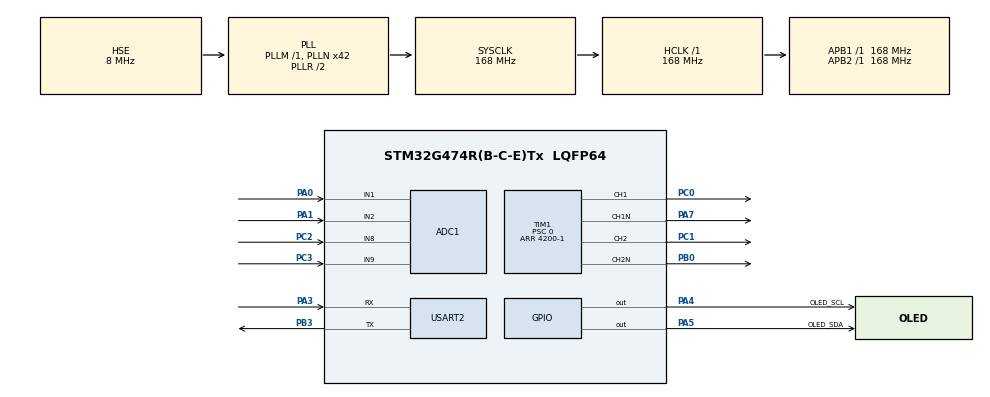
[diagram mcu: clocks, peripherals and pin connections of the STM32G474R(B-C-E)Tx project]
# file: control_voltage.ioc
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ADC1.Channel-6\#ChannelRegularConversion=ADC_CHANNEL_1
ADC1.Channel-7\#ChannelRegularConversion=ADC_CHANNEL_8
ADC1.ContinuousConvMode=ENABLE
ADC1.NbrOfConversion=2
ADC1.NbrOfConversionFlag=1
ADC1.OffsetNumber-6\#ChannelRegularConversion=ADC_OFFSET_NONE
ADC1.OffsetNumber-7\#ChannelRegularConversion=ADC_OFFSET_NONE
ADC1.Rank-6\#ChannelRegularConversion=1
ADC1.Rank-7\#ChannelRegularConversion=2
ADC1.SamplingTime-6\#ChannelRegularConversion=ADC_SAMPLETIME_24CYCLES_5
ADC1.SamplingTime-7\#ChannelRegularConversion=ADC_SAMPLETIME_24CYCLES_5
ADC1.SingleDiff-6\#ChannelRegularConversion=ADC_DIFFERENTIAL_ENDED
ADC1.SingleDiff-7\#ChannelRegularConversion=ADC_DIFFERENTIAL_ENDED
ADC1.master=1
Dma.Request0=USART2_RX
Dma.Request1=USART2_TX
Dma.USART2_RX.0.Direction=DMA_PERIPH_TO_MEMORY
Dma.USART2_RX.0.EventEnable=DISABLE
Dma.USART2_RX.0.Instance=DMA1_Channel1
Dma.USART2_RX.0.MemDataAlignment=DMA_MDATAALIGN_BYTE
Dma.USART2_RX.0.MemInc=DMA_MINC_ENABLE
Dma.USART2_RX.0.Mode=DMA_NORMAL
Dma.USART2_RX.0.PeriphDataAlignment=DMA_PDATAALIGN_BYTE
Dma.USART2_RX.0.PeriphInc=DMA_PINC_DISABLE
Dma.USART2_RX.0.Polarity=HAL_DMAMUX_REQ_GEN_RISING
Dma.USART2_RX.0.Priority=DMA_PRIORITY_LOW
Dma.USART2_RX.0.RequestNumber=1
Dma.USART2_RX.0.SignalID=NONE
Dma.USART2_RX.0.SyncEnable=DISABLE
Dma.USART2_RX.0.SyncPolarity=HAL_DMAMUX_SYNC_NO_EVENT
Dma.USART2_RX.0.SyncRequestNumber=1
Dma.USART2_RX.0.SyncSignalID=NONE
Dma.USART2_TX.1.Direction=DMA_MEMORY_TO_PERIPH
Dma.USART2_TX.1.EventEnable=DISABLE
Dma.USART2_TX.1.Instance=DMA1_Channel2
Dma.USART2_TX.1.MemDataAlignment=DMA_MDATAALIGN_BYTE
Dma.USART2_TX.1.MemInc=DMA_MINC_ENABLE
Dma.USART2_TX.1.Mode=DMA_NORMAL
Dma.USART2_TX.1.PeriphDataAlignment=DMA_PDATAALIGN_BYTE
Dma.USART2_TX.1.PeriphInc=DMA_PINC_DISABLE
Dma.USART2_TX.1.Polarity=HAL_DMAMUX_REQ_GEN_RISING
Dma.USART2_TX.1.Priority=DMA_PRIORITY_LOW
Dma.USART2_TX.1.RequestNumber=1
Dma.USART2_TX.1.SignalID=NONE
Dma.USART2_TX.1.SyncEnable=DISABLE
Dma.USART2_TX.1.SyncPolarity=HAL_DMAMUX_SYNC_NO_EVENT
Dma.USART2_TX.1.SyncRequestNumber=1
Dma.USART2_TX.1.SyncSignalID=NONE
Mcu.Family=STM32G4
Mcu.Name=STM32G474R(B-C-E)Tx
Mcu.Package=LQFP64
NVIC.DMA1_Channel1_IRQn=true\:0\:0\:false\:false\:true\:false\:true\:true
NVIC.DMA1_Channel2_IRQn=true\:0\:0\:false\:false\:true\:false\:true\:true
NVIC.PriorityGroup=NVIC_PRIORITYGROUP_4
NVIC.TIM4_IRQn=true\:0\:0\:false\:false\:true\:true\:true\:true
NVIC.USART2_IRQn=true\:0\:0\:false\:false\:true\:true\:true\:true
PA0.Mode=IN1-Differential
PA0.Signal=ADC1_IN1
PA1.Mode=IN1-Differential
PA1.Signal=ADC1_IN2
PA13.Mode=Serial_Wire
PA13.Signal=SYS_JTMS-SWDIO
PA14.Mode=Serial_Wire
PA14.Signal=SYS_JTCK-SWCLK
PA3.Mode=Asynchronous
PA3.Signal=USART2_RX
PA4.GPIO_Label=OLED_SCL
PA4.GPIO_ModeDefaultOutputPP=GPIO_MODE_OUTPUT_OD
PA4.GPIO_PuPd=GPIO_NOPULL
PA4.GPIO_Speed=GPIO_SPEED_FREQ_HIGH
PA4.Signal=GPIO_Output
PA5.GPIO_Label=OLED_SDA
PA5.GPIO_ModeDefaultOutputPP=GPIO_MODE_OUTPUT_OD
PA5.GPIO_PuPd=GPIO_NOPULL
PA5.GPIO_Speed=GPIO_SPEED_FREQ_HIGH
PA5.Signal=GPIO_Output
PA7.GPIO_Speed=GPIO_SPEED_FREQ_MEDIUM
PA7.Mode=PWM Generation1 CH1 CH1N
PA7.Signal=TIM1_CH1N
PB0.GPIO_Speed=GPIO_SPEED_FREQ_MEDIUM
PB0.Mode=PWM Generation2 CH2 CH2N
PB0.Signal=TIM1_CH2N
PB3.Mode=Asynchronous
PB3.Signal=USART2_TX
PC0.GPIO_Speed=GPIO_SPEED_FREQ_MEDIUM
PC0.Signal=S_TIM1_CH1
PC1.GPIO_Speed=GPIO_SPEED_FREQ_MEDIUM
PC1.Signal=S_TIM1_CH2
PC2.Mode=IN8-Differential
PC2.Signal=ADC1_IN8
PC3.Mode=IN8-Differential
PC3.Signal=ADC1_IN9
PF0-OSC_IN.Mode=HSE-External-Oscillator
PF0-OSC_IN.Signal=RCC_OSC_IN
PF1-OSC_OUT.Mode=HSE-External-Oscillator
PF1-OSC_OUT.Signal=RCC_OSC_OUT
ProjectManager.HeapSize=0x200
ProjectManager.StackSize=0x400
ProjectManager.TargetToolchain=CMake
RCC.ADC12Freq_Value=168000000
RCC.ADC345Freq_Value=168000000
RCC.AHBFreq_Value=168000000
RCC.APB1Freq_Value=168000000
RCC.APB1TimFreq_Value=168000000
RCC.APB2Freq_Value=168000000
RCC.APB2TimFreq_Value=168000000
RCC.CortexFreq_Value=168000000
RCC.EXTERNAL_CLOCK_VALUE=12288000
RCC.HCLKFreq_Value=168000000
RCC.HSE_VALUE=8000000
RCC.HSI48_VALUE=48000000
RCC.HSI_VALUE=16000000
RCC.LSE_VALUE=32768
RCC.PLLN=42
RCC.PLLSourceVirtual=RCC_PLLSOURCE_HSE
RCC.SYSCLKFreq_VALUE=168000000
RCC.SYSCLKSource=RCC_SYSCLKSOURCE_PLLCLK
RCC.USBFreq_Value=168000000
RCC.VCOOutputFreq_Value=336000000
SH.S_TIM1_CH1.0=TIM1_CH1,PWM Generation1 CH1 CH1N
SH.S_TIM1_CH2.0=TIM1_CH2,PWM Generation2 CH2 CH2N
TIM1.AsymmetricalDeadTime=DISABLE
TIM1.AutoReloadPreload=TIM_AUTORELOAD_PRELOAD_ENABLE
TIM1.Channel-PWM\ Generation1\ CH1\ CH1N=TIM_CHANNEL_1
TIM1.Channel-PWM\ Generation2\ CH2\ CH2N=TIM_CHANNEL_2
TIM1.DeadTime=42
TIM1.PeriodNoDither=4200-1
TIM1.Prescaler=0
TIM4.AutoReloadPreload=TIM_AUTORELOAD_PRELOAD_ENABLE
TIM4.PeriodNoDither=8400
USART2.VirtualMode-Asynchronous=VM_ASYNC
VP_SYS_VS_DBSignals.Mode=DisableDeadBatterySignals
VP_TIM1_VS_ClockSourceINT.Mode=Internal
VP_TIM4_VS_ClockSourceINT.Mode=Internal
board=custom

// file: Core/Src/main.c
/* USER CODE BEGIN Header */
/**
  ******************************************************************************
  * @file           : main.c
  * @brief          : Main program body
  ******************************************************************************
  * @attention
  *
  * Copyright (c) 2026 STMicroelectronics.
  * All rights reserved.
  *
  * This software is licensed under terms that can be found in the LICENSE file
  * in the root directory of this software component.
  * If no LICENSE file comes with this software, it is provided AS-IS.
  *
  ******************************************************************************
  */
/* USER CODE END Header */
#include "main.h"
#include "adc.h"
#include "dma.h"
#include "tim.h"
#include "usart.h"
#include "gpio.h"

/* USER CODE BEGIN Includes */
#include "MY_OLED.h"
#include "OLED.h"
#include "arm_math.h"

/* USER CODE END Includes */

/* USER CODE BEGIN PV */
#define upper_limit                           8399.0f
#define lower_limit                           0.0f
#define BUCK_limit                            3780.0f
#define Middle_limit1                         3990.0f
#define Middle_limit2                         4410.0f
#define BOOST_limit                           8399.0f
#define BUCK_fix_pulse                        3864.0f
#define BOOST_fix_pulse                       294.0f
#define BUCK_max_pulse                        4199.0f
#define BOOST_min_pulse                       0.0f
#define software_step_size                    42.0f
#define software_start_digital_setpoint       4200.0f

uint16_t ADC_value[32];//2个通道，16个数据取平均滤波

const uint8_t buff_size=16;

float32_t phy_setpoint=0.0f;
float32_t phy_measurement[2];
float32_t calc_measurement[2];
float32_t calc_setpoint=0;
float32_t pid_memory[3];
float32_t debug_value=0;

const float32_t voltage_gain=1.0;
const float32_t phy_calc_conv=voltage_gain/(float32_t)buff_size;
const float32_t Ts=5e-5f;

arm_pid_instance_f32 pid;

/* USER CODE END PV */

void SystemClock_Config(void);

int main(void)
{

  /* USER CODE BEGIN 1 */
  calc_setpoint=phy_setpoint/phy_calc_conv;
  pid.Kp=0;
  pid.Ki=0;
  pid.Kd=0;
  pid.A0=pid.Kp+pid.Ki*Ts+pid.Kd/Ts;
  pid.A1=-pid.Kp-2.0f*pid.Kd/Ts;
  pid.A2=pid.Kd/Ts;
  /* USER CODE END 1 */

  /* MCU Configuration--------------------------------------------------------*/

  /* Reset of all peripherals, Initializes the Flash interface and the Systick. */
  HAL_Init();

  /* USER CODE BEGIN Init */
  OLED_Init();
  /* USER CODE END Init */

  /* Configure the system clock */
  SystemClock_Config();

  /* Initialize all configured peripherals */
  MX_GPIO_Init();
  MX_DMA_Init();
  MX_USART2_UART_Init();
  MX_ADC1_Init();
  MX_TIM4_Init();
  MX_TIM1_Init();
  /* USER CODE BEGIN 2 */
  arm_pid_init_f32(&pid,1);

  HAL_ADCEx_Calibration_Start(&hadc1,ADC_DIFFERENTIAL_ENDED);
  HAL_ADC_Start_DMA(&hadc1,(uint32_t*)ADC_value,sizeof(ADC_value)/sizeof(uint16_t));

  HAL_TIM_Base_Start(&htim1);
  software_start();
  HAL_TIM_Base_Start_IT(&htim4);

  /* USER CODE END 2 */

  /* Infinite loop */
  while (1)
  {

  }
}

void SystemClock_Config(void)
{
  RCC_OscInitTypeDef RCC_OscInitStruct = {0};
  RCC_ClkInitTypeDef RCC_ClkInitStruct = {0};

  /** Configure the main internal regulator output voltage
  */
  HAL_PWREx_ControlVoltageScaling(PWR_REGULATOR_VOLTAGE_SCALE1_BOOST);

  /** Initializes the RCC Oscillators according to the specified parameters
  * in the RCC_OscInitTypeDef structure.
  */
  RCC_OscInitStruct.OscillatorType = RCC_OSCILLATORTYPE_HSE;
  RCC_OscInitStruct.HSEState = RCC_HSE_ON;
  RCC_OscInitStruct.PLL.PLLState = RCC_PLL_ON;
  RCC_OscInitStruct.PLL.PLLSource = RCC_PLLSOURCE_HSE;
  RCC_OscInitStruct.PLL.PLLM = RCC_PLLM_DIV1;
  RCC_OscInitStruct.PLL.PLLN = 42;
  RCC_OscInitStruct.PLL.PLLP = RCC_PLLP_DIV2;
  RCC_OscInitStruct.PLL.PLLQ = RCC_PLLQ_DIV2;
  RCC_OscInitStruct.PLL.PLLR = RCC_PLLR_DIV2;
  if (HAL_RCC_OscConfig(&RCC_OscInitStruct) != HAL_OK)
  {
    Error_Handler();
  }

  /** Initializes the CPU, AHB and APB buses clocks
  */
  RCC_ClkInitStruct.ClockType = RCC_CLOCKTYPE_HCLK|RCC_CLOCKTYPE_SYSCLK
                              |RCC_CLOCKTYPE_PCLK1|RCC_CLOCKTYPE_PCLK2;
  RCC_ClkInitStruct.SYSCLKSource = RCC_SYSCLKSOURCE_PLLCLK;
  RCC_ClkInitStruct.AHBCLKDivider = RCC_SYSCLK_DIV1;
  RCC_ClkInitStruct.APB1CLKDivider = RCC_HCLK_DIV1;
  RCC_ClkInitStruct.APB2CLKDivider = RCC_HCLK_DIV1;

  if (HAL_RCC_ClockConfig(&RCC_ClkInitStruct, FLASH_LATENCY_4) != HAL_OK)
  {
    Error_Handler();
  }
}

/* USER CODE BEGIN 4 */

uint32_t PID_Compute(const float32_t error) {
  arm_copy_f32(pid.state,pid_memory,3);
  const float32_t output = arm_pid_f32(&pid, error);
  debug_value=output;

  if (output > upper_limit)
  {
    arm_copy_f32(pid_memory,pid.state,3);
    return upper_limit;
  }
  if (output < lower_limit)
  {
    arm_copy_f32(pid_memory,pid.state,3);
    return lower_limit;
  }
  return (uint32_t)output;
}

void HAL_TIM_PeriodElapsedCallback(TIM_HandleTypeDef *htim) {
  if(htim->Instance==TIM4)
  {
    static uint16_t out;
    calc_measurement[0]=ADC_value[0]+ADC_value[2]+ADC_value[4]+ADC_value[6]+ADC_value[8]+ADC_value[10]+ADC_value[12]+ADC_value[14]
                    +ADC_value[16]+ADC_value[18]+ADC_value[20]+ADC_value[22]+ADC_value[24]+ADC_value[26]+ADC_value[28]+ADC_value[30];
    //  calc_measurement[1]=ADC_value[1]+ADC_value[3]+ADC_value[5]+ADC_value[7]+ADC_value[9]+ADC_value[11]+ADC_value[13]+ADC_value[15]
    //     +ADC_value[17]+ADC_value[19]+ADC_value[21]+ADC_value[23]+ADC_value[25]+ADC_value[27]+ADC_value[29]+ADC_value[31];
    out=PID_Compute(calc_setpoint-calc_measurement[0]);
    if (out<=BUCK_limit)
    {
      __HAL_TIM_SET_COMPARE(&htim1,TIM_CHANNEL_1,out);
      __HAL_TIM_SET_COMPARE(&htim1,TIM_CHANNEL_2,BOOST_min_pulse);
    }
    else if (out>BUCK_limit  &&  out<=Middle_limit1)
    {
      __HAL_TIM_SET_COMPARE(&htim1,TIM_CHANNEL_1,out-126);
      __HAL_TIM_SET_COMPARE(&htim1,TIM_CHANNEL_2,BOOST_fix_pulse);
    }
    else if (out>Middle_limit1  &&  out<=Middle_limit2)
    {
      __HAL_TIM_SET_COMPARE(&htim1,TIM_CHANNEL_1,BUCK_fix_pulse);
      __HAL_TIM_SET_COMPARE(&htim1,TIM_CHANNEL_2,out-3654);
    }
    else if (out>Middle_limit2  &&  out<=BOOST_limit)
    {
      __HAL_TIM_SET_COMPARE(&htim1,TIM_CHANNEL_1,BUCK_max_pulse);
      __HAL_TIM_SET_COMPARE(&htim1,TIM_CHANNEL_2,out-4242);
    }

  }
}
void software_start(void) {
  HAL_TIM_PWM_Start(&htim1,TIM_CHANNEL_1);
  HAL_TIMEx_PWMN_Start(&htim1,TIM_CHANNEL_1);
  HAL_TIM_PWM_Start(&htim1,TIM_CHANNEL_2);
  HAL_TIMEx_PWMN_Start(&htim1,TIM_CHANNEL_2);
  for (int i=0;i<=software_start_digital_setpoint;i+=software_step_size)
  {
    if (i<=BUCK_limit)
    {
      __HAL_TIM_SET_COMPARE(&htim1,TIM_CHANNEL_1,i);
      __HAL_TIM_SET_COMPARE(&htim1,TIM_CHANNEL_2,BOOST_min_pulse);
    }
    else if (i>BUCK_limit  &&  i<=Middle_limit1)
    {
      __HAL_TIM_SET_COMPARE(&htim1,TIM_CHANNEL_1,i-126);
      __HAL_TIM_SET_COMPARE(&htim1,TIM_CHANNEL_2,BOOST_fix_pulse);
    }
    else if (i>Middle_limit1  &&  i<=Middle_limit2)
    {
      __HAL_TIM_SET_COMPARE(&htim1,TIM_CHANNEL_1,BUCK_fix_pulse);
      __HAL_TIM_SET_COMPARE(&htim1,TIM_CHANNEL_2,i-3654);
    }
    else if (i>Middle_limit2  &&  i<=BOOST_limit)
    {
      __HAL_TIM_SET_COMPARE(&htim1,TIM_CHANNEL_1,BUCK_max_pulse);
      __HAL_TIM_SET_COMPARE(&htim1,TIM_CHANNEL_2,i-4242);
    }
    HAL_Delay(1);
  }

}
/* USER CODE END 4 */

void Error_Handler(void)
{
  __disable_irq();
  while (1)
  {
  }
}
